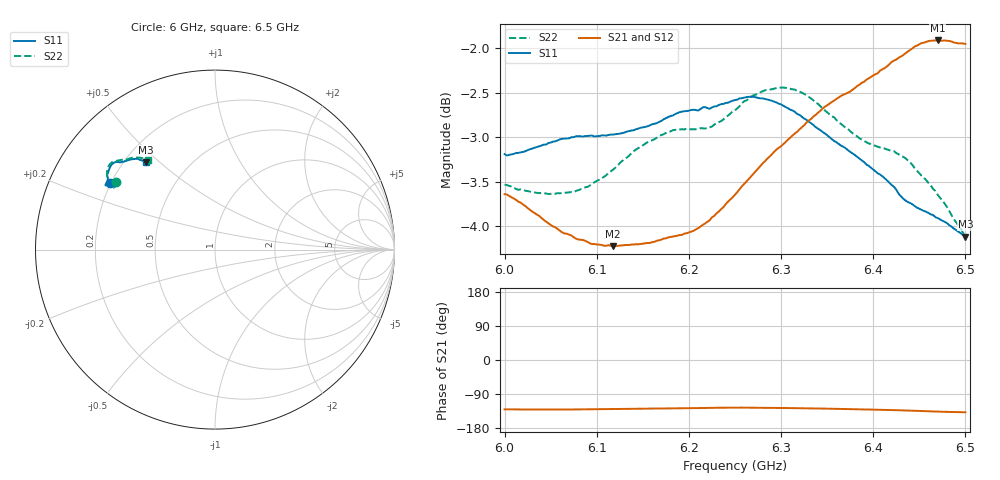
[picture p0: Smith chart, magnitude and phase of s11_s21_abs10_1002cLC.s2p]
! MS46122B
! 1919307/90821646
! 7/29/2022 1:44:47 PM
! C:\USERS\PC_\DESKTOP\MEDICIONES\BANCHA ESTRECHA\6_65_GHZ\S11_S21_ABS10_1002CL.S2P
! CHANNEL.1
! TR.MEASUREMENT
! CORRECTED.DATA
# GHZ S RI R 50.0
! FREQ.GHZ  S11RE  S11IM  S21RE  S21IM  S12RE  S12IM  S22RE  S22IM
!; PortSelection: Port_12
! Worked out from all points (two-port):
!   201 points, 6 GHz to 6.5 GHz, reference 50 ohm
!   highest |S21| = -1.92 dB at 6.47 GHz (marker M1); lowest = -4.2 dB at 6.117 GHz (marker M2)
!   |S21| within 3 dB of the highest: start of sweep to end of sweep
!   lowest |S11| = -4.1 dB at 6.5 GHz (marker M3), VSWR 4.30, Z = 14.2 + j22.6 ohm
!   |S11| at or under -10 dB: nowhere
!   |S22| runs from -4.1 to -2.4 dB; largest |S21 - S12| = 0.017
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6  -0.586 0.3693  -0.425 -0.5019  -0.4149 -0.5013  -0.5499 0.3753
6.0075  -0.5857 0.3691  -0.4238 -0.4995  -0.4153 -0.4972  -0.5491 0.3737
6.04  -0.6009 0.3595  -0.4171 -0.4825  -0.4083 -0.479  -0.5482 0.3651
6.0625  -0.6091 0.3578  -0.4089 -0.474  -0.3984 -0.4703  -0.5568 0.3521
6.085  -0.6087 0.3623  -0.4005 -0.4731  -0.3881 -0.4698  -0.5662 0.3442
6.1  -0.6052 0.3691  -0.395 -0.4731  -0.3816 -0.4712  -0.5732 0.3448
6.1175  -0.6002 0.3797  -0.3904 -0.4751  -0.3773 -0.4741  -0.5794 0.3535
6.1675  -0.5987 0.4034  -0.3825 -0.4875  -0.3674 -0.4894  -0.5943 0.3859
6.1825  -0.6011 0.4106  -0.3817 -0.4919  -0.3668 -0.496  -0.5968 0.3925
6.2025  -0.6019 0.4187  -0.3778 -0.4999  -0.3636 -0.5057  -0.597 0.3937
6.225  -0.5942 0.4337  -0.3778 -0.5145  -0.3644 -0.5209  -0.597 0.3982
6.25  -0.5859 0.4563  -0.3829 -0.5342  -0.3724 -0.5427  -0.6001 0.4208
6.27  -0.5751 0.4748  -0.3958 -0.5471  -0.3854 -0.5569  -0.5996 0.4458
6.29  -0.5609 0.4858  -0.4101 -0.5578  -0.4015 -0.5668  -0.5908 0.467
6.315  -0.5442 0.4887  -0.4282 -0.568  -0.4208 -0.5787  -0.5744 0.4865
6.335  -0.5295 0.4866  -0.4457 -0.5743  -0.4381 -0.5851  -0.5547 0.4934
6.3775  -0.4808 0.4993  -0.4813 -0.5785  -0.4791 -0.5897  -0.5038 0.5026
6.4175  -0.4358 0.5056  -0.5207 -0.5778  -0.5188 -0.5882  -0.4763 0.5077
6.4275  -0.4243 0.5031  -0.5309 -0.5773  -0.5319 -0.5856  -0.4685 0.5099
6.445  -0.4135 0.4985  -0.552 -0.5732  -0.5545 -0.5776  -0.4463 0.5133
6.47  -0.4011 0.4957  -0.5781 -0.5559  -0.5787 -0.5565  -0.4131 0.5111
6.5  -0.3865 0.4879  -0.5933 -0.5343  -0.5903 -0.5319  -0.3758 0.497
